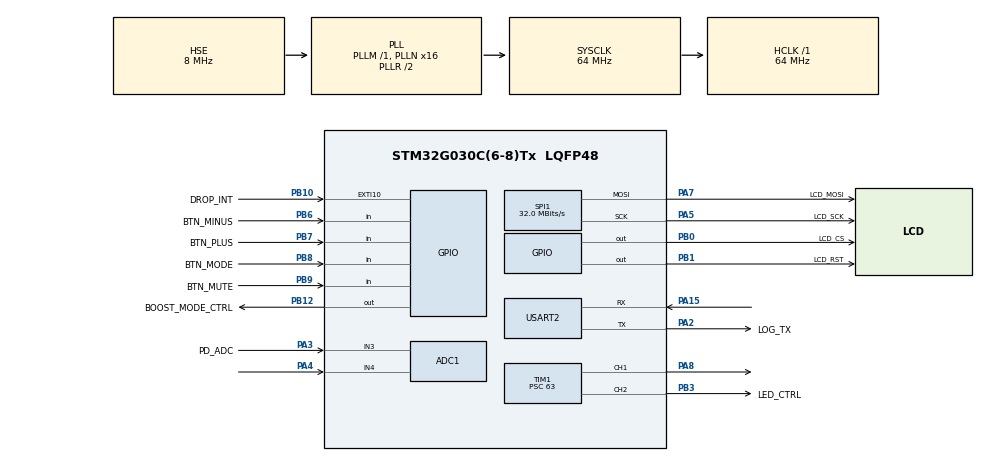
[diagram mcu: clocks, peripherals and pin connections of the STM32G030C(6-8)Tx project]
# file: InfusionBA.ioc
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ADC1.Channel-0\#ChannelRegularConversion=ADC_CHANNEL_3
ADC1.NbrOfConversionFlag=1
ADC1.Rank-0\#ChannelRegularConversion=1
ADC1.SamplingTime-0\#ChannelRegularConversion=ADC_SAMPLINGTIME_COMMON_1
ADC1.SelectedChannel=ADC_CHANNEL_3|ADC_CHANNEL_4
ADC1.master=1
Mcu.Family=STM32G0
Mcu.Name=STM32G030C(6-8)Tx
Mcu.Package=LQFP48
PA13.Mode=Serial_Wire
PA13.Signal=SYS_SWDIO
PA14-BOOT0.Mode=Serial_Wire
PA14-BOOT0.Signal=SYS_SWCLK
PA15.Mode=Asynchronous
PA15.Signal=USART2_RX
PA2.GPIO_Label=LOG_TX
PA2.Mode=Asynchronous
PA2.Signal=USART2_TX
PA3.GPIO_Label=PD_ADC
PA3.Mode=IN3
PA3.Signal=ADC1_IN3
PA4.Mode=IN4
PA4.Signal=ADC1_IN4
PA5.GPIO_Label=LCD_SCK
PA5.Mode=TX_Only_Simplex_Unidirect_Master
PA5.Signal=SPI1_SCK
PA7.GPIO_Label=LCD_MOSI
PA7.Mode=TX_Only_Simplex_Unidirect_Master
PA7.Signal=SPI1_MOSI
PA8.Signal=S_TIM1_CH1
PB0.GPIO_Label=LCD_CS
PB0.GPIO_ModeDefaultOutputPP=GPIO_MODE_OUTPUT_PP
PB0.GPIO_PuPd=GPIO_PULLUP
PB0.GPIO_Speed=GPIO_SPEED_FREQ_HIGH
PB0.Signal=GPIO_Output
PB1.GPIO_Label=LCD_RST
PB1.GPIO_ModeDefaultOutputPP=GPIO_MODE_OUTPUT_PP
PB1.GPIO_PuPd=GPIO_NOPULL
PB1.GPIO_Speed=GPIO_SPEED_FREQ_MEDIUM
PB1.Signal=GPIO_Output
PB10.GPIO_Label=DROP_INT
PB10.GPIO_ModeDefaultEXTI=GPIO_MODE_IT_FALLING
PB10.Signal=GPXTI10
PB12.GPIO_Label=BOOST_MODE_CTRL
PB12.GPIO_Speed=GPIO_SPEED_FREQ_MEDIUM
PB12.PinState=GPIO_PIN_SET
PB12.Signal=GPIO_Output
PB3.GPIO_Label=LED_CTRL
PB3.Signal=S_TIM1_CH2
PB6.GPIO_Label=BTN_MINUS
PB6.GPIO_PuPd=GPIO_PULLUP
PB6.Signal=GPIO_Input
PB7.GPIO_Label=BTN_PLUS
PB7.GPIO_PuPd=GPIO_PULLUP
PB7.Signal=GPIO_Input
PB8.GPIO_Label=BTN_MODE
PB8.GPIO_PuPd=GPIO_PULLUP
PB8.Signal=GPIO_Input
PB9.GPIO_Label=BTN_MUTE
PB9.GPIO_PuPd=GPIO_PULLUP
PB9.Signal=GPIO_Input
PC14-OSC32_IN\ (PC14).GPIO_Label=OSC32_IN
PC14-OSC32_IN\ (PC14).Mode=LSE-External-Oscillator
PC14-OSC32_IN\ (PC14).Signal=RCC_OSC32_IN
PC15-OSC32_OUT\ (PC15).GPIO_Label=OSC32_OUT
PC15-OSC32_OUT\ (PC15).Mode=LSE-External-Oscillator
PC15-OSC32_OUT\ (PC15).Signal=RCC_OSC32_OUT
ProjectManager.HeapSize=0x200
ProjectManager.StackSize=0x400
ProjectManager.TargetToolchain=STM32CubeIDE
RCC.ADCFreq_Value=64000000
RCC.AHBFreq_Value=64000000
RCC.CortexFreq_Value=64000000
RCC.EXTERNAL_CLOCK_VALUE=12288000
RCC.HCLKFreq_Value=64000000
RCC.HSE_VALUE=8000000
RCC.HSI_VALUE=16000000
RCC.SYSCLKFreq_VALUE=64000000
RCC.SYSCLKSource=RCC_SYSCLKSOURCE_PLLCLK
RCC.VCOOutputFreq_Value=128000000
SH.S_TIM1_CH1.0=TIM1_CH1,PWM Generation1 CH1
SH.S_TIM1_CH2.0=TIM1_CH2,PWM Generation2 CH2
SPI1.CalculateBaudRate=32.0 MBits/s
SPI1.Direction=SPI_DIRECTION_2LINES
SPI1.Mode=SPI_MODE_MASTER
SPI1.VirtualType=VM_MASTER
TIM1.AutoReloadPreload=TIM_AUTORELOAD_PRELOAD_ENABLE
TIM1.Channel-PWM\ Generation1\ CH1=TIM_CHANNEL_1
TIM1.Channel-PWM\ Generation2\ CH2=TIM_CHANNEL_2
TIM1.Period=249
TIM1.Prescaler=63
TIM1.Pulse-PWM\ Generation1\ CH1=0
USART2.VirtualMode-Asynchronous=VM_ASYNC
VP_RTC_VS_RTC_Activate.Mode=RTC_Enabled
board=custom

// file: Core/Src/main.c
/* USER CODE BEGIN Header */
/**
  ******************************************************************************
  * @file           : main.c
  * @brief          : Main program body
  ******************************************************************************
  * @attention
  *
  * Copyright (c) 2025 STMicroelectronics.
  * All rights reserved.
  *
  * This software is licensed under terms that can be found in the LICENSE file
  * in the root directory of this software component.
  * If no LICENSE file comes with this software, it is provided AS-IS.
  *
  ******************************************************************************
  */
/* USER CODE END Header */
#include "main.h"

/* USER CODE BEGIN PD */
#define BTN_MINUS_Pin GPIO_PIN_6
#define BTN_PLUS_Pin  GPIO_PIN_7
#define BTN_MODE_Pin  GPIO_PIN_8
#define BTN_MUTE_Pin  GPIO_PIN_9
#define BTN_PORT      GPIOB

/* ---------------- EA DOGS102 SPI DRIVER ---------------- */
#define DOG_CS_PORT   LCD_CS_GPIO_Port   // PB?
#define DOG_CS_PIN    LCD_CS_Pin
#define DOG_RST_PORT  GPIOB
#define DOG_RST_PIN   LCD_RST_Pin
#define DOG_CD_PORT   GPIOB             // D/C# wired to BOOST_MODE_CTRL_Pin
#define DOG_CD_PIN    BOOST_MODE_CTRL_Pin

/* USER CODE END PD */

ADC_HandleTypeDef hadc1;

RTC_HandleTypeDef hrtc;

SPI_HandleTypeDef hspi1;

TIM_HandleTypeDef htim1;

UART_HandleTypeDef huart2;

void SystemClock_Config(void);
static void MX_GPIO_Init(void);
static void MX_ADC1_Init(void);
static void MX_RTC_Init(void);
static void MX_SPI1_Init(void);
static void MX_TIM1_Init(void);
static void MX_USART2_UART_Init(void);

/* USER CODE BEGIN 0 */
static void Buzzer_SetDuty(uint16_t duty)
{
    __HAL_TIM_SET_COMPARE(&htim1, TIM_CHANNEL_1, duty);
}
void Buzzer_PlayFreq(uint16_t freq, uint16_t duration_ms)
{
    uint32_t timer_clk = 1000000;  // TIM1 clock after prescaler = 64 MHz / (63 + 1)
    uint32_t period = timer_clk / freq;

    __HAL_TIM_SET_AUTORELOAD(&htim1, period - 1);
    __HAL_TIM_SET_COMPARE(&htim1, TIM_CHANNEL_1, period / 2);  // 50% duty
    HAL_Delay(duration_ms);
    Buzzer_SetDuty(0);
}

/* USER CODE END 0 */

int main(void)
{

  /* MCU Configuration--------------------------------------------------------*/

  /* Reset of all peripherals, Initializes the Flash interface and the Systick. */
  HAL_Init();

  /* Configure the system clock */
  SystemClock_Config();

  /* Initialize all configured peripherals */
  MX_GPIO_Init();
  MX_ADC1_Init();
  MX_RTC_Init();
  MX_SPI1_Init();
  MX_TIM1_Init();
  MX_USART2_UART_Init();
  /* USER CODE BEGIN 2 */
  HAL_TIM_PWM_Start(&htim1, TIM_CHANNEL_1);
  /* USER CODE END 2 */

  /* Infinite loop */
  /* USER CODE BEGIN WHILE */
  while (1)
  {
	  if (HAL_GPIO_ReadPin(BTN_PORT, BTN_MINUS_Pin) == GPIO_PIN_RESET)
	      {
	          Buzzer_PlayFreq(3800, 100);  // 2 kHz, 100 ms

	          HAL_Delay(200);              // debounce
	      }

	      if (HAL_GPIO_ReadPin(BTN_PORT, BTN_PLUS_Pin) == GPIO_PIN_RESET)
	      {
	          Buzzer_PlayFreq(4000, 100);

	          HAL_Delay(200);
	      }

	      if (HAL_GPIO_ReadPin(BTN_PORT, BTN_MODE_Pin) == GPIO_PIN_RESET)
	      {
	          Buzzer_PlayFreq(4200, 100);

	          HAL_Delay(200);
	      }

	      if (HAL_GPIO_ReadPin(BTN_PORT, BTN_MUTE_Pin) == GPIO_PIN_RESET)
	      {
	          Buzzer_PlayFreq(4400, 100);

	          HAL_Delay(200);
	      }
    /* USER CODE END WHILE */

  }
}

void SystemClock_Config(void)
{
  RCC_OscInitTypeDef RCC_OscInitStruct = {0};
  RCC_ClkInitTypeDef RCC_ClkInitStruct = {0};
  RCC_PeriphCLKInitTypeDef PeriphClkInit = {0};

  /** Configure the main internal regulator output voltage
  */
  __HAL_RCC_PWR_CLK_ENABLE();
  HAL_PWREx_ControlVoltageScaling(PWR_REGULATOR_VOLTAGE_SCALE1);
  HAL_PWR_EnableBkUpAccess();
  __HAL_RCC_LSEDRIVE_CONFIG(RCC_LSEDRIVE_LOW);

  /** Initializes the RCC Oscillators according to the specified parameters
  * in the RCC_OscInitTypeDef structure.
  */
  RCC_OscInitStruct.OscillatorType = RCC_OSCILLATORTYPE_HSE|RCC_OSCILLATORTYPE_LSE;
  RCC_OscInitStruct.HSEState = RCC_HSE_ON;
  RCC_OscInitStruct.HSIState = RCC_HSI_OFF;
  RCC_OscInitStruct.LSEState = RCC_LSE_ON;
  RCC_OscInitStruct.LSIState = RCC_LSI_OFF;
  RCC_OscInitStruct.PLL.PLLState = RCC_PLL_ON;
  RCC_OscInitStruct.PLL.PLLSource = RCC_PLLSOURCE_HSE;
  RCC_OscInitStruct.PLL.PLLM = RCC_PLLM_DIV1;
  RCC_OscInitStruct.PLL.PLLN = 16;
  RCC_OscInitStruct.PLL.PLLP = RCC_PLLP_DIV2;
  RCC_OscInitStruct.PLL.PLLR = RCC_PLLR_DIV2;
  if (HAL_RCC_OscConfig(&RCC_OscInitStruct) != HAL_OK)
  {
    Error_Handler();
  }

  /** Configure RTC clock source */
  PeriphClkInit.PeriphClockSelection = RCC_PERIPHCLK_RTC;
  PeriphClkInit.RTCClockSelection = RCC_RTCCLKSOURCE_LSE;
  if (HAL_RCCEx_PeriphCLKConfig(&PeriphClkInit) != HAL_OK)
  {
    Error_Handler();
  }

  /** Initializes the CPU, AHB and APB buses clocks
  */
  RCC_ClkInitStruct.ClockType = RCC_CLOCKTYPE_HCLK|RCC_CLOCKTYPE_SYSCLK
                              |RCC_CLOCKTYPE_PCLK1;
  RCC_ClkInitStruct.SYSCLKSource = RCC_SYSCLKSOURCE_PLLCLK;
  RCC_ClkInitStruct.AHBCLKDivider = RCC_SYSCLK_DIV1;
  RCC_ClkInitStruct.APB1CLKDivider = RCC_HCLK_DIV1;

  if (HAL_RCC_ClockConfig(&RCC_ClkInitStruct, FLASH_LATENCY_2) != HAL_OK)
  {
    Error_Handler();
  }
}

static void MX_ADC1_Init(void)
{

  ADC_ChannelConfTypeDef sConfig = {0};

  /** Configure the global features of the ADC (Clock, Resolution, Data Alignment and number of conversion)
  */
  hadc1.Instance = ADC1;
  hadc1.Init.ClockPrescaler = ADC_CLOCK_SYNC_PCLK_DIV2;
  hadc1.Init.Resolution = ADC_RESOLUTION_12B;
  hadc1.Init.DataAlign = ADC_DATAALIGN_RIGHT;
  hadc1.Init.ScanConvMode = ADC_SCAN_DISABLE;
  hadc1.Init.EOCSelection = ADC_EOC_SINGLE_CONV;
  hadc1.Init.LowPowerAutoWait = DISABLE;
  hadc1.Init.LowPowerAutoPowerOff = DISABLE;
  hadc1.Init.ContinuousConvMode = DISABLE;
  hadc1.Init.NbrOfConversion = 1;
  hadc1.Init.DiscontinuousConvMode = DISABLE;
  hadc1.Init.ExternalTrigConv = ADC_SOFTWARE_START;
  hadc1.Init.ExternalTrigConvEdge = ADC_EXTERNALTRIGCONVEDGE_NONE;
  hadc1.Init.DMAContinuousRequests = DISABLE;
  hadc1.Init.Overrun = ADC_OVR_DATA_PRESERVED;
  hadc1.Init.SamplingTimeCommon1 = ADC_SAMPLETIME_1CYCLE_5;
  hadc1.Init.SamplingTimeCommon2 = ADC_SAMPLETIME_1CYCLE_5;
  hadc1.Init.OversamplingMode = DISABLE;
  hadc1.Init.TriggerFrequencyMode = ADC_TRIGGER_FREQ_HIGH;
  if (HAL_ADC_Init(&hadc1) != HAL_OK)
  {
    Error_Handler();
  }

  /** Configure Regular Channel
  */
  sConfig.Channel = ADC_CHANNEL_3;
  sConfig.Rank = ADC_REGULAR_RANK_1;
  sConfig.SamplingTime = ADC_SAMPLINGTIME_COMMON_1;
  if (HAL_ADC_ConfigChannel(&hadc1, &sConfig) != HAL_OK)
  {
    Error_Handler();
  }

}

static void MX_RTC_Init(void)
{

  /** Initialize RTC Only
  */
  hrtc.Instance = RTC;
  hrtc.Init.HourFormat = RTC_HOURFORMAT_24;
  hrtc.Init.AsynchPrediv = 127;
  hrtc.Init.SynchPrediv = 255;
  hrtc.Init.OutPut = RTC_OUTPUT_DISABLE;
  hrtc.Init.OutPutRemap = RTC_OUTPUT_REMAP_NONE;
  hrtc.Init.OutPutPolarity = RTC_OUTPUT_POLARITY_HIGH;
  hrtc.Init.OutPutType = RTC_OUTPUT_TYPE_OPENDRAIN;
  hrtc.Init.OutPutPullUp = RTC_OUTPUT_PULLUP_NONE;
  if (HAL_RTC_Init(&hrtc) != HAL_OK)
  {
    Error_Handler();
  }

}

static void MX_SPI1_Init(void)
{

  /* SPI1 parameter configuration*/
  hspi1.Instance = SPI1;
  hspi1.Init.Mode = SPI_MODE_MASTER;
  hspi1.Init.Direction = SPI_DIRECTION_2LINES;
  hspi1.Init.DataSize = SPI_DATASIZE_8BIT;
  hspi1.Init.CLKPolarity = SPI_POLARITY_LOW;
  hspi1.Init.CLKPhase = SPI_PHASE_1EDGE;
  hspi1.Init.NSS = SPI_NSS_SOFT;
  hspi1.Init.BaudRatePrescaler = SPI_BAUDRATEPRESCALER_2;
  hspi1.Init.FirstBit = SPI_FIRSTBIT_MSB;
  hspi1.Init.TIMode = SPI_TIMODE_DISABLE;
  hspi1.Init.CRCCalculation = SPI_CRCCALCULATION_DISABLE;
  hspi1.Init.CRCPolynomial = 7;
  hspi1.Init.CRCLength = SPI_CRC_LENGTH_DATASIZE;
  hspi1.Init.NSSPMode = SPI_NSS_PULSE_ENABLE;
  if (HAL_SPI_Init(&hspi1) != HAL_OK)
  {
    Error_Handler();
  }

}

static void MX_TIM1_Init(void)
{

  TIM_MasterConfigTypeDef sMasterConfig = {0};
  TIM_OC_InitTypeDef sConfigOC = {0};
  TIM_BreakDeadTimeConfigTypeDef sBreakDeadTimeConfig = {0};

  htim1.Instance = TIM1;
  htim1.Init.Prescaler = 63;
  htim1.Init.CounterMode = TIM_COUNTERMODE_UP;
  htim1.Init.Period = 249;
  htim1.Init.ClockDivision = TIM_CLOCKDIVISION_DIV1;
  htim1.Init.RepetitionCounter = 0;
  htim1.Init.AutoReloadPreload = TIM_AUTORELOAD_PRELOAD_ENABLE;
  if (HAL_TIM_PWM_Init(&htim1) != HAL_OK)
  {
    Error_Handler();
  }
  sMasterConfig.MasterOutputTrigger = TIM_TRGO_RESET;
  sMasterConfig.MasterOutputTrigger2 = TIM_TRGO2_RESET;
  sMasterConfig.MasterSlaveMode = TIM_MASTERSLAVEMODE_DISABLE;
  if (HAL_TIMEx_MasterConfigSynchronization(&htim1, &sMasterConfig) != HAL_OK)
  {
    Error_Handler();
  }
  sConfigOC.OCMode = TIM_OCMODE_PWM1;
  sConfigOC.Pulse = 0;
  sConfigOC.OCPolarity = TIM_OCPOLARITY_HIGH;
  sConfigOC.OCNPolarity = TIM_OCNPOLARITY_HIGH;
  sConfigOC.OCFastMode = TIM_OCFAST_DISABLE;
  sConfigOC.OCIdleState = TIM_OCIDLESTATE_RESET;
  sConfigOC.OCNIdleState = TIM_OCNIDLESTATE_RESET;
  if (HAL_TIM_PWM_ConfigChannel(&htim1, &sConfigOC, TIM_CHANNEL_1) != HAL_OK)
  {
    Error_Handler();
  }
  if (HAL_TIM_PWM_ConfigChannel(&htim1, &sConfigOC, TIM_CHANNEL_2) != HAL_OK)
  {
    Error_Handler();
  }
  sBreakDeadTimeConfig.OffStateRunMode = TIM_OSSR_DISABLE;
  sBreakDeadTimeConfig.OffStateIDLEMode = TIM_OSSI_DISABLE;
  sBreakDeadTimeConfig.LockLevel = TIM_LOCKLEVEL_OFF;
  sBreakDeadTimeConfig.DeadTime = 0;
  sBreakDeadTimeConfig.BreakState = TIM_BREAK_DISABLE;
  sBreakDeadTimeConfig.BreakPolarity = TIM_BREAKPOLARITY_HIGH;
  sBreakDeadTimeConfig.BreakFilter = 0;
  sBreakDeadTimeConfig.BreakAFMode = TIM_BREAK_AFMODE_INPUT;
  sBreakDeadTimeConfig.Break2State = TIM_BREAK2_DISABLE;
  sBreakDeadTimeConfig.Break2Polarity = TIM_BREAK2POLARITY_HIGH;
  sBreakDeadTimeConfig.Break2Filter = 0;
  sBreakDeadTimeConfig.Break2AFMode = TIM_BREAK_AFMODE_INPUT;
  sBreakDeadTimeConfig.AutomaticOutput = TIM_AUTOMATICOUTPUT_DISABLE;
  if (HAL_TIMEx_ConfigBreakDeadTime(&htim1, &sBreakDeadTimeConfig) != HAL_OK)
  {
    Error_Handler();
  }
  HAL_TIM_MspPostInit(&htim1);

}

static void MX_USART2_UART_Init(void)
{

  huart2.Instance = USART2;
  huart2.Init.BaudRate = 115200;
  huart2.Init.WordLength = UART_WORDLENGTH_8B;
  huart2.Init.StopBits = UART_STOPBITS_1;
  huart2.Init.Parity = UART_PARITY_NONE;
  huart2.Init.Mode = UART_MODE_TX_RX;
  huart2.Init.HwFlowCtl = UART_HWCONTROL_NONE;
  huart2.Init.OverSampling = UART_OVERSAMPLING_16;
  huart2.Init.OneBitSampling = UART_ONE_BIT_SAMPLE_DISABLE;
  huart2.Init.ClockPrescaler = UART_PRESCALER_DIV1;
  huart2.AdvancedInit.AdvFeatureInit = UART_ADVFEATURE_NO_INIT;
  if (HAL_UART_Init(&huart2) != HAL_OK)
  {
    Error_Handler();
  }

}

static void MX_GPIO_Init(void)
{
  GPIO_InitTypeDef GPIO_InitStruct = {0};

  /* GPIO Ports Clock Enable */
  __HAL_RCC_GPIOC_CLK_ENABLE();
  __HAL_RCC_GPIOA_CLK_ENABLE();
  __HAL_RCC_GPIOB_CLK_ENABLE();

  /*Configure GPIO pin Output Level */
  HAL_GPIO_WritePin(GPIOB, LCD_CS_Pin|LCD_RST_Pin, GPIO_PIN_RESET);

  /*Configure GPIO pin Output Level */
  HAL_GPIO_WritePin(BOOST_MODE_CTRL_GPIO_Port, BOOST_MODE_CTRL_Pin, GPIO_PIN_SET);

  /*Configure GPIO pin : LCD_CS_Pin */
  GPIO_InitStruct.Pin = LCD_CS_Pin;
  GPIO_InitStruct.Mode = GPIO_MODE_OUTPUT_PP;
  GPIO_InitStruct.Pull = GPIO_PULLUP;
  GPIO_InitStruct.Speed = GPIO_SPEED_FREQ_HIGH;
  HAL_GPIO_Init(LCD_CS_GPIO_Port, &GPIO_InitStruct);

  /*Configure GPIO pins : LCD_RST_Pin BOOST_MODE_CTRL_Pin */
  GPIO_InitStruct.Pin = LCD_RST_Pin|BOOST_MODE_CTRL_Pin;
  GPIO_InitStruct.Mode = GPIO_MODE_OUTPUT_PP;
  GPIO_InitStruct.Pull = GPIO_NOPULL;
  GPIO_InitStruct.Speed = GPIO_SPEED_FREQ_MEDIUM;
  HAL_GPIO_Init(GPIOB, &GPIO_InitStruct);

  /*Configure GPIO pin : DROP_INT_Pin */
  GPIO_InitStruct.Pin = DROP_INT_Pin;
  GPIO_InitStruct.Mode = GPIO_MODE_IT_FALLING;
  GPIO_InitStruct.Pull = GPIO_NOPULL;
  HAL_GPIO_Init(DROP_INT_GPIO_Port, &GPIO_InitStruct);

  /*Configure GPIO pins : BTN_MINUS_Pin BTN_PLUS_Pin BTN_MODE_Pin BTN_MUTE_Pin */
  GPIO_InitStruct.Pin = BTN_MINUS_Pin|BTN_PLUS_Pin|BTN_MODE_Pin|BTN_MUTE_Pin;
  GPIO_InitStruct.Mode = GPIO_MODE_INPUT;
  GPIO_InitStruct.Pull = GPIO_PULLUP;
  HAL_GPIO_Init(GPIOB, &GPIO_InitStruct);

}

void Error_Handler(void)
{
  __disable_irq();
  while (1)
  {
  }
}
